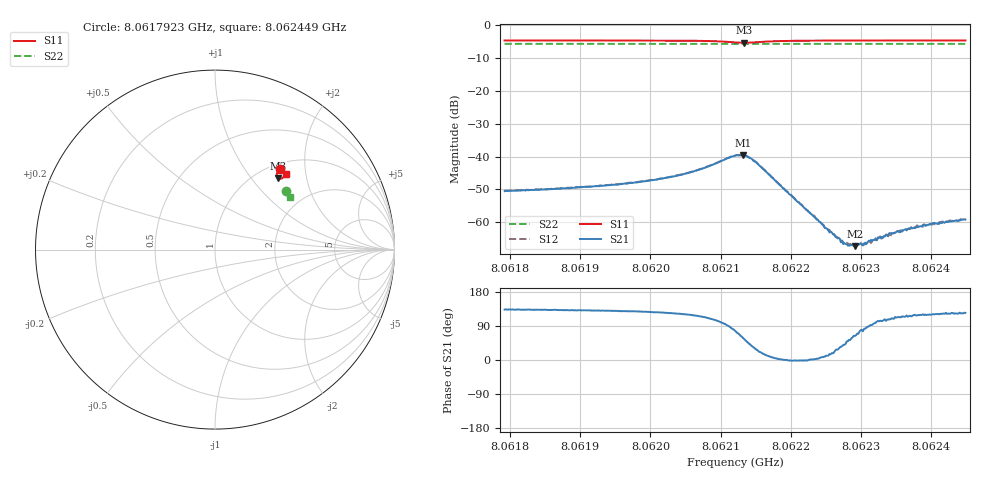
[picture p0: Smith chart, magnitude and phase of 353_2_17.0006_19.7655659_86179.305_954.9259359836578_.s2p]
#  HZ  S  RI  R  50.00
! Rohde & Schwarz Vector Network Analyzer
! Rohde-Schwarz,ZNB20-2Port,1311601062101988,3.16
! Created: UTC 3/20/2024, 11:07:55 PM
! freq[Hz]  re:S11  im:S11  re:S21  im:S21  re:S12  im:S12  re:S22  im:S22
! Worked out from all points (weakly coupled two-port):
!   401 points, 8.0617923 GHz to 8.062449 GHz, reference 50 ohm
!   highest |S21| = -39.49 dB at 8.0621321 GHz (marker M1); lowest = -67.2 dB at 8.0622914 GHz (marker M2)
!   lowest |S11| = -5.5 dB at 8.0621338 GHz (marker M3), VSWR 3.27, Z = 61.8 + j68.7 ohm
!   |S11| at or under -10 dB: nowhere
!   |S22| runs from -5.9 to -5.8 dB; largest |S21 - S12| = 0.00074
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8.06179227e9  0.3637 0.4466  -0.00204 0.00218  -0.00196 0.00229  0.3966 0.3243
8.06190228e9  0.3713 0.4399  -0.00224 0.0026  -0.00212 0.00276  0.4006 0.3188
8.06195482e9  0.3752 0.4362  -0.00236 0.00294  -0.00222 0.00308  0.4026 0.3161
8.06201228e9  0.3798 0.4303  -0.00264 0.00369  -0.00242 0.00388  0.4048 0.3131
8.06206318e9  0.3841 0.4207  -0.00278 0.00536  -0.00247 0.00553  0.4067 0.3103
8.06212064e9  0.3672 0.3946  0.00223 0.01  0.00291 0.00995  0.4073 0.3065
8.06213214e9  0.3528 0.3976  0.00564 0.00897  0.00607 0.00866  0.4073 0.3063
8.06213378e9  0.3509 0.399  0.00599 0.00857  0.00643 0.00816  0.4074 0.3063
8.06214199e9  0.3446 0.4079  0.00715 0.0063  0.0075 0.00585  0.4073 0.3064
8.06215348e9  0.3443 0.4211  0.00694 0.00316  0.00716 0.00284  0.4079 0.3065
8.06223065e9  0.3721 0.4347  0.0013 2.62e-05  0.0013 -4.19e-05  0.412 0.303
8.06225692e9  0.3765 0.4331  0.000702 0.000188  0.000671 0.000143  0.413 0.3016
8.06227498e9  0.3788 0.4319  0.000362 0.000298  0.000418 0.000262  0.4137 0.3007
8.06228155e9  0.3795 0.4316  0.000288 0.00034  0.000344 0.000336  0.414 0.3003
8.0622914e9  0.3806 0.4309  0.000195 0.00039  0.000228 0.000372  0.4144 0.2998
8.06230618e9  0.3821 0.43  6.14e-05 0.000489  7.81e-05 0.000456  0.415 0.2991
8.06231439e9  0.383 0.4294  -2.06e-05 0.000541  7.73e-06 0.000485  0.4152 0.2987
8.06234066e9  0.3851 0.4278  -0.000199 0.000639  -0.000235 0.000647  0.4162 0.2972
8.06235379e9  0.3863 0.427  -0.000286 0.00066  -0.000219 0.000704  0.4166 0.2966
8.06238006e9  0.3883 0.4256  -0.000394 0.000751  -0.000414 0.000806  0.4175 0.2952
8.06240141e9  0.3897 0.4243  -0.000499 0.00083  -0.000433 0.000816  0.4183 0.2941
8.06244902e9  0.393 0.4216  -0.000624 0.000915  -0.000534 0.000969  0.4199 0.2916
